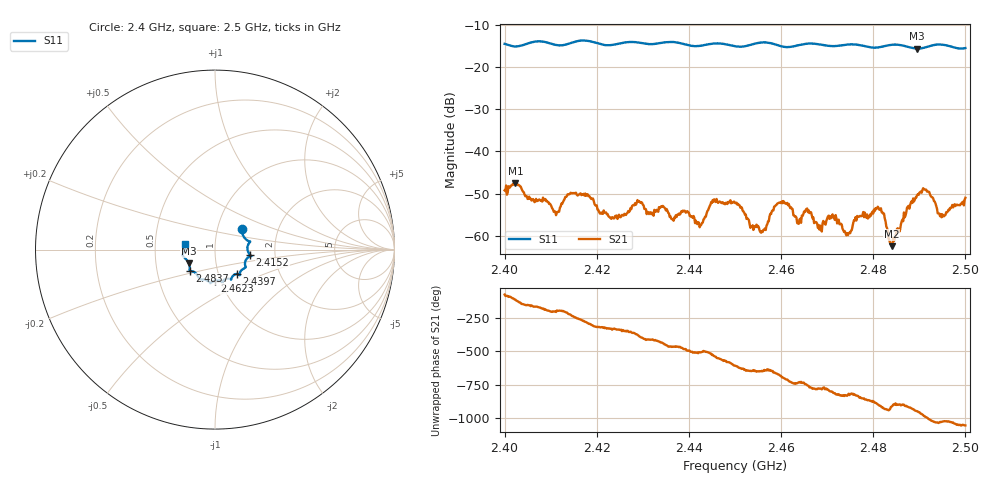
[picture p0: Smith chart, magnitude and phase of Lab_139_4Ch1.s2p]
# Hz S RI R 50
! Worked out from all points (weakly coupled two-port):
!   601 points, 2.4 GHz to 2.5 GHz, reference 50 ohm
!   highest |S21| = -47.59 dB at 2.4023 GHz (marker M1); lowest = -62.5 dB at 2.484 GHz (marker M2)
!   lowest |S11| = -15.7 dB at 2.4895 GHz (marker M3), VSWR 1.39, Z = 36.8 - j5.72 ohm
!   |S11| at or under -10 dB: start of sweep to end of sweep
!   S12 and S22 are empty: the file has one direction only
!   S11 on the Smith chart (normalised r, x): 2.4 GHz: 1.31, +0.31; 2.4152 GHz: 1.48, -0.09; 2.4397 GHz: 1.22, -0.34; 2.4623 GHz: 0.94, -0.34; 2.4837 GHz: 0.74, -0.18; 2.5 GHz: 0.72, +0.05
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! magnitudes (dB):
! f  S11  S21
! 2.4 GHz  -14.5  -49.3
! 2.4023 GHz  -15.1  -47.6
! 2.4112 GHz  -14.8  -55.1
! 2.4152 GHz  -14.1  -49.9
! 2.4167 GHz  -13.7  -50.4
! 2.4233 GHz  -14.8  -55.6
! 2.4333 GHz  -14.4  -54.3
! 2.4397 GHz  -14.8  -54.2
! 2.4423 GHz  -15.0  -58.0
! 2.45 GHz  -15.1  -52.2
! 2.4558 GHz  -14.2  -58.9
! 2.4593 GHz  -14.9  -52.3
! 2.4623 GHz  -15.2  -53.6
! 2.4667 GHz  -14.4  -55.2
! 2.4745 GHz  -14.7  -59.9
! 2.4812 GHz  -15.4  -53.5
! 2.4833 GHz  -14.8  -60.7
! 2.4837 GHz  -14.8  -61.8
! 2.484 GHz  -14.7  -62.5
! 2.4895 GHz  -15.7  -50.4
! 2.495 GHz  -14.7  -54.9
! 2.5 GHz  -15.5  -51.0
